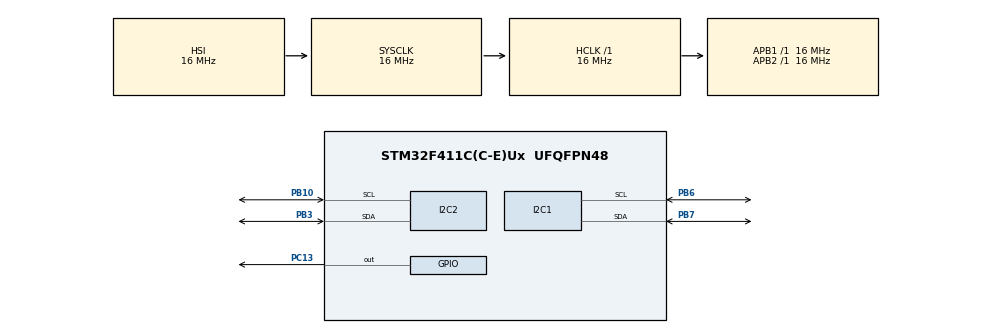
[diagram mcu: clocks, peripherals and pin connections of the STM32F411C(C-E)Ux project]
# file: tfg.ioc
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FREERTOS.Tasks01=defaultTask,24,128,StartDefaultTask,Default,NULL,Dynamic,NULL,NULL
Mcu.Family=STM32F4
Mcu.Name=STM32F411C(C-E)Ux
Mcu.Package=UFQFPN48
NVIC.PriorityGroup=NVIC_PRIORITYGROUP_4
NVIC.TIM1_UP_TIM10_IRQn=true\:15\:0\:false\:false\:true\:false\:false\:true\:true
NVIC.TimeBase=TIM1_UP_TIM10_IRQn
NVIC.TimeBaseIP=TIM1
PA13.Mode=Serial_Wire
PA13.Signal=SYS_JTMS-SWDIO
PA14.Mode=Serial_Wire
PA14.Signal=SYS_JTCK-SWCLK
PB10.Mode=I2C
PB10.Signal=I2C2_SCL
PB3.Mode=I2C
PB3.Signal=I2C2_SDA
PB6.Mode=I2C
PB6.Signal=I2C1_SCL
PB7.Mode=I2C
PB7.Signal=I2C1_SDA
PC13-ANTI_TAMP.Signal=GPIO_Output
PH0\ -\ OSC_IN.Mode=HSE-External-Oscillator
PH0\ -\ OSC_IN.Signal=RCC_OSC_IN
PH1\ -\ OSC_OUT.Mode=HSE-External-Oscillator
PH1\ -\ OSC_OUT.Signal=RCC_OSC_OUT
ProjectManager.HeapSize=0x200
ProjectManager.StackSize=0x400
ProjectManager.TargetToolchain=CMake
RCC.AHBFreq_Value=16000000
RCC.APB1Freq_Value=16000000
RCC.APB2Freq_Value=16000000
RCC.CortexFreq_Value=16000000
RCC.HSE_VALUE=25000000
RCC.HSI_VALUE=16000000
RCC.LSE_VALUE=32768
RCC.SYSCLKFreq_VALUE=16000000
RCC.VCOOutputFreq_Value=192000000
VP_FREERTOS_VS_CMSIS_V2.Mode=CMSIS_V2
VP_SYS_VS_tim1.Mode=TIM1
board=custom

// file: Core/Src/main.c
/* USER CODE BEGIN Header */
/**
  ******************************************************************************
  * @file           : main.c
  * @brief          : Main program body
  ******************************************************************************
  * @attention
  *
  * Copyright (c) 2026 STMicroelectronics.
  * All rights reserved.
  *
  * This software is licensed under terms that can be found in the LICENSE file
  * in the root directory of this software component.
  * If no LICENSE file comes with this software, it is provided AS-IS.
  *
  ******************************************************************************
  */
/* USER CODE END Header */
#include "main.h"
#include "cmsis_os.h"

/* USER CODE BEGIN Includes */
#include "sh1106.h"
#include "ui.h"
/* USER CODE END Includes */

I2C_HandleTypeDef hi2c1;
I2C_HandleTypeDef hi2c2;

/* Definitions for defaultTask */
osThreadId_t defaultTaskHandle;
const osThreadAttr_t defaultTask_attributes = {
  .name = "defaultTask",
  .stack_size = 128 * 4,
  .priority = (osPriority_t) osPriorityNormal,
};

void SystemClock_Config(void);
static void MX_GPIO_Init(void);
static void MX_I2C1_Init(void);
static void MX_I2C2_Init(void);
void StartDefaultTask(void *argument);

int main(void)
{

  /* MCU Configuration--------------------------------------------------------*/

  /* Reset of all peripherals, Initializes the Flash interface and the Systick. */
  HAL_Init();

  /* USER CODE BEGIN Init */
  const SH1106_Config_t display_config = {
    .hi2c                   = &hi2c1,
    // 00111100 << 1 = 01111000 = addr [7:1] + r/w [0]
    .i2c_addr               = (0x3C << 1),
    .contrast               = 0x80, // medium-high contrast
    .multiplex_ratio        = 0x3F, // 64 rows
    .display_offset         = 0x00, // no offset
    .start_line             = 0x40, // start at line 0
    .osc_freq_div_ratio     = 0x50, // POR
    .pump_voltage           = SH1106_PUMP_8_0V, // POR
    .com_pins_config        = SH1106_COM_ALTERNATIVE, // POR
    .mirror                 = SH1106_MIRROR_BOTH // POR
  };
  /* USER CODE END Init */

  /* Configure the system clock */
  SystemClock_Config();

  /* Initialize all configured peripherals */
  MX_GPIO_Init();
  MX_I2C1_Init();
  MX_I2C2_Init();
  /* USER CODE BEGIN 2 */
  SH1106_Init(&display_config);
  /* USER CODE END 2 */

  /* Init scheduler */
  osKernelInitialize();

  /* Create the thread(s) */
  /* creation of defaultTask */
  defaultTaskHandle = osThreadNew(StartDefaultTask, NULL, &defaultTask_attributes);

  /* USER CODE BEGIN RTOS_THREADS */
  UI_Create_Task();
  /* USER CODE END RTOS_THREADS */

  /* Start scheduler */
  osKernelStart();

  /* We should never get here as control is now taken by the scheduler */

  /* Infinite loop */
  while (1)
  {

  }
}

void SystemClock_Config(void)
{
  RCC_OscInitTypeDef RCC_OscInitStruct = {0};
  RCC_ClkInitTypeDef RCC_ClkInitStruct = {0};

  /** Configure the main internal regulator output voltage
  */
  __HAL_RCC_PWR_CLK_ENABLE();
  __HAL_PWR_VOLTAGESCALING_CONFIG(PWR_REGULATOR_VOLTAGE_SCALE1);

  /** Initializes the RCC Oscillators according to the specified parameters
  * in the RCC_OscInitTypeDef structure.
  */
  RCC_OscInitStruct.OscillatorType = RCC_OSCILLATORTYPE_HSI;
  RCC_OscInitStruct.HSIState = RCC_HSI_ON;
  RCC_OscInitStruct.HSICalibrationValue = RCC_HSICALIBRATION_DEFAULT;
  RCC_OscInitStruct.PLL.PLLState = RCC_PLL_NONE;
  if (HAL_RCC_OscConfig(&RCC_OscInitStruct) != HAL_OK)
  {
    Error_Handler();
  }

  /** Initializes the CPU, AHB and APB buses clocks
  */
  RCC_ClkInitStruct.ClockType = RCC_CLOCKTYPE_HCLK|RCC_CLOCKTYPE_SYSCLK
                              |RCC_CLOCKTYPE_PCLK1|RCC_CLOCKTYPE_PCLK2;
  RCC_ClkInitStruct.SYSCLKSource = RCC_SYSCLKSOURCE_HSI;
  RCC_ClkInitStruct.AHBCLKDivider = RCC_SYSCLK_DIV1;
  RCC_ClkInitStruct.APB1CLKDivider = RCC_HCLK_DIV1;
  RCC_ClkInitStruct.APB2CLKDivider = RCC_HCLK_DIV1;

  if (HAL_RCC_ClockConfig(&RCC_ClkInitStruct, FLASH_LATENCY_0) != HAL_OK)
  {
    Error_Handler();
  }
}

static void MX_I2C1_Init(void)
{

  hi2c1.Instance = I2C1;
  hi2c1.Init.ClockSpeed = 100000;
  hi2c1.Init.DutyCycle = I2C_DUTYCYCLE_2;
  hi2c1.Init.OwnAddress1 = 0;
  hi2c1.Init.AddressingMode = I2C_ADDRESSINGMODE_7BIT;
  hi2c1.Init.DualAddressMode = I2C_DUALADDRESS_DISABLE;
  hi2c1.Init.OwnAddress2 = 0;
  hi2c1.Init.GeneralCallMode = I2C_GENERALCALL_DISABLE;
  hi2c1.Init.NoStretchMode = I2C_NOSTRETCH_DISABLE;
  if (HAL_I2C_Init(&hi2c1) != HAL_OK)
  {
    Error_Handler();
  }

}

static void MX_I2C2_Init(void)
{

  hi2c2.Instance = I2C2;
  hi2c2.Init.ClockSpeed = 100000;
  hi2c2.Init.DutyCycle = I2C_DUTYCYCLE_2;
  hi2c2.Init.OwnAddress1 = 0;
  hi2c2.Init.AddressingMode = I2C_ADDRESSINGMODE_7BIT;
  hi2c2.Init.DualAddressMode = I2C_DUALADDRESS_DISABLE;
  hi2c2.Init.OwnAddress2 = 0;
  hi2c2.Init.GeneralCallMode = I2C_GENERALCALL_DISABLE;
  hi2c2.Init.NoStretchMode = I2C_NOSTRETCH_DISABLE;
  if (HAL_I2C_Init(&hi2c2) != HAL_OK)
  {
    Error_Handler();
  }

}

static void MX_GPIO_Init(void)
{
  GPIO_InitTypeDef GPIO_InitStruct = {0};

  /* GPIO Ports Clock Enable */
  __HAL_RCC_GPIOC_CLK_ENABLE();
  __HAL_RCC_GPIOH_CLK_ENABLE();
  __HAL_RCC_GPIOB_CLK_ENABLE();
  __HAL_RCC_GPIOA_CLK_ENABLE();

  /*Configure GPIO pin Output Level */
  HAL_GPIO_WritePin(GPIOC, GPIO_PIN_13, GPIO_PIN_RESET);

  /*Configure GPIO pin : PC13 */
  GPIO_InitStruct.Pin = GPIO_PIN_13;
  GPIO_InitStruct.Mode = GPIO_MODE_OUTPUT_PP;
  GPIO_InitStruct.Pull = GPIO_NOPULL;
  GPIO_InitStruct.Speed = GPIO_SPEED_FREQ_LOW;
  HAL_GPIO_Init(GPIOC, &GPIO_InitStruct);

}

void StartDefaultTask(void *argument)
{
  for(;;)
  {
    osDelay(1);
  }
}

void HAL_TIM_PeriodElapsedCallback(TIM_HandleTypeDef *htim)
{
  if (htim->Instance == TIM1)
  {
    HAL_IncTick();
  }
}

void Error_Handler(void)
{
  __disable_irq();
  while (1)
  {
  }
}
